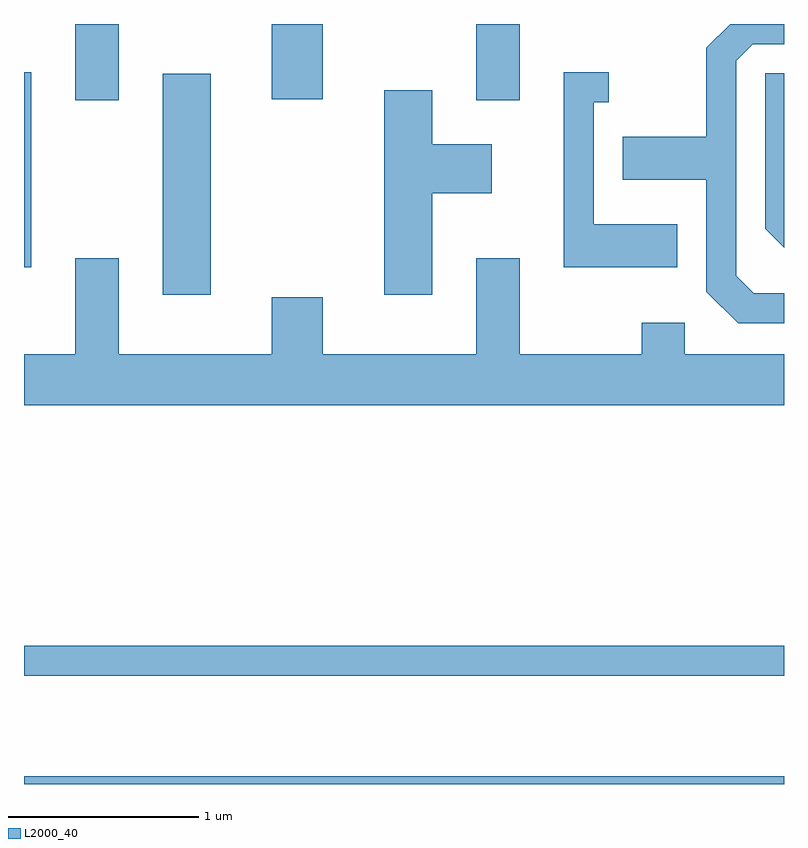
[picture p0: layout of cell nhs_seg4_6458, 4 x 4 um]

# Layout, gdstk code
import gdstk
lib = gdstk.Library(unit=1e-6, precision=1e-09)
def R(c, l, rs):  # rectangles x0, y0, x1, y1
    for r in rs: c.add(gdstk.rectangle(r[:2], r[2:], *l))
def P(c, l, *ps):  # polygons
    for p in ps: c.add(gdstk.Polygon(p, *l))
L2000_40 = (2000, 40)

nhs_seg4_6458 = lib.new_cell('nhs_seg4_6458')
R(nhs_seg4_6458, L2000_40, [(373.611,1385.982,377.611,1386.024), (373.611,1386.551,377.611,1386.709), (374.341,1388.556,374.594,1389.719), (373.611,1388.701,373.649,1389.729), (373.881,1389.581,374.109,1389.982), (375.991,1389.581,376.219,1389.982), (374.916,1389.586,375.184,1389.982)])
P(nhs_seg4_6458, L2000_40, [(377.611,1388.564),(377.452,1388.564),(377.359,1388.657),(377.359,1389.789),(377.447,1389.876),(377.611,1389.876),(377.611,1389.982),(377.327,1389.982),(377.201,1389.857),(377.201,1389.389),(376.761,1389.389),(376.761,1389.161),(377.201,1389.161),(377.201,1388.574),(377.369,1388.406),(377.611,1388.406)],
  [(377.049,1388.929),(376.609,1388.929),(376.609,1389.571),(376.688,1389.571),(376.688,1389.729),(376.451,1389.729),(376.451,1388.701),(377.049,1388.701)],
  [(377.611,1389.724),(377.511,1389.724),(377.511,1388.904),(377.611,1388.804)],
  [(375.759,1389.091),(376.074,1389.091),(376.074,1389.349),(375.759,1389.349),(375.759,1389.634),(375.506,1389.634),(375.506,1388.556),(375.759,1388.556)],
  [(377.611,1388.244),(377.089,1388.244),(377.089,1388.409),(376.861,1388.409),(376.861,1388.244),(376.219,1388.244),(376.219,1388.749),(375.991,1388.749),(375.991,1388.244),(375.184,1388.244),(375.184,1388.544),(374.916,1388.544),(374.916,1388.244),(374.109,1388.244),(374.109,1388.749),(373.881,1388.749),(373.881,1388.244),(373.611,1388.244),(373.611,1387.976),(377.611,1387.976)])

lib.write_gds('nhs_seg4_6458.gds')
